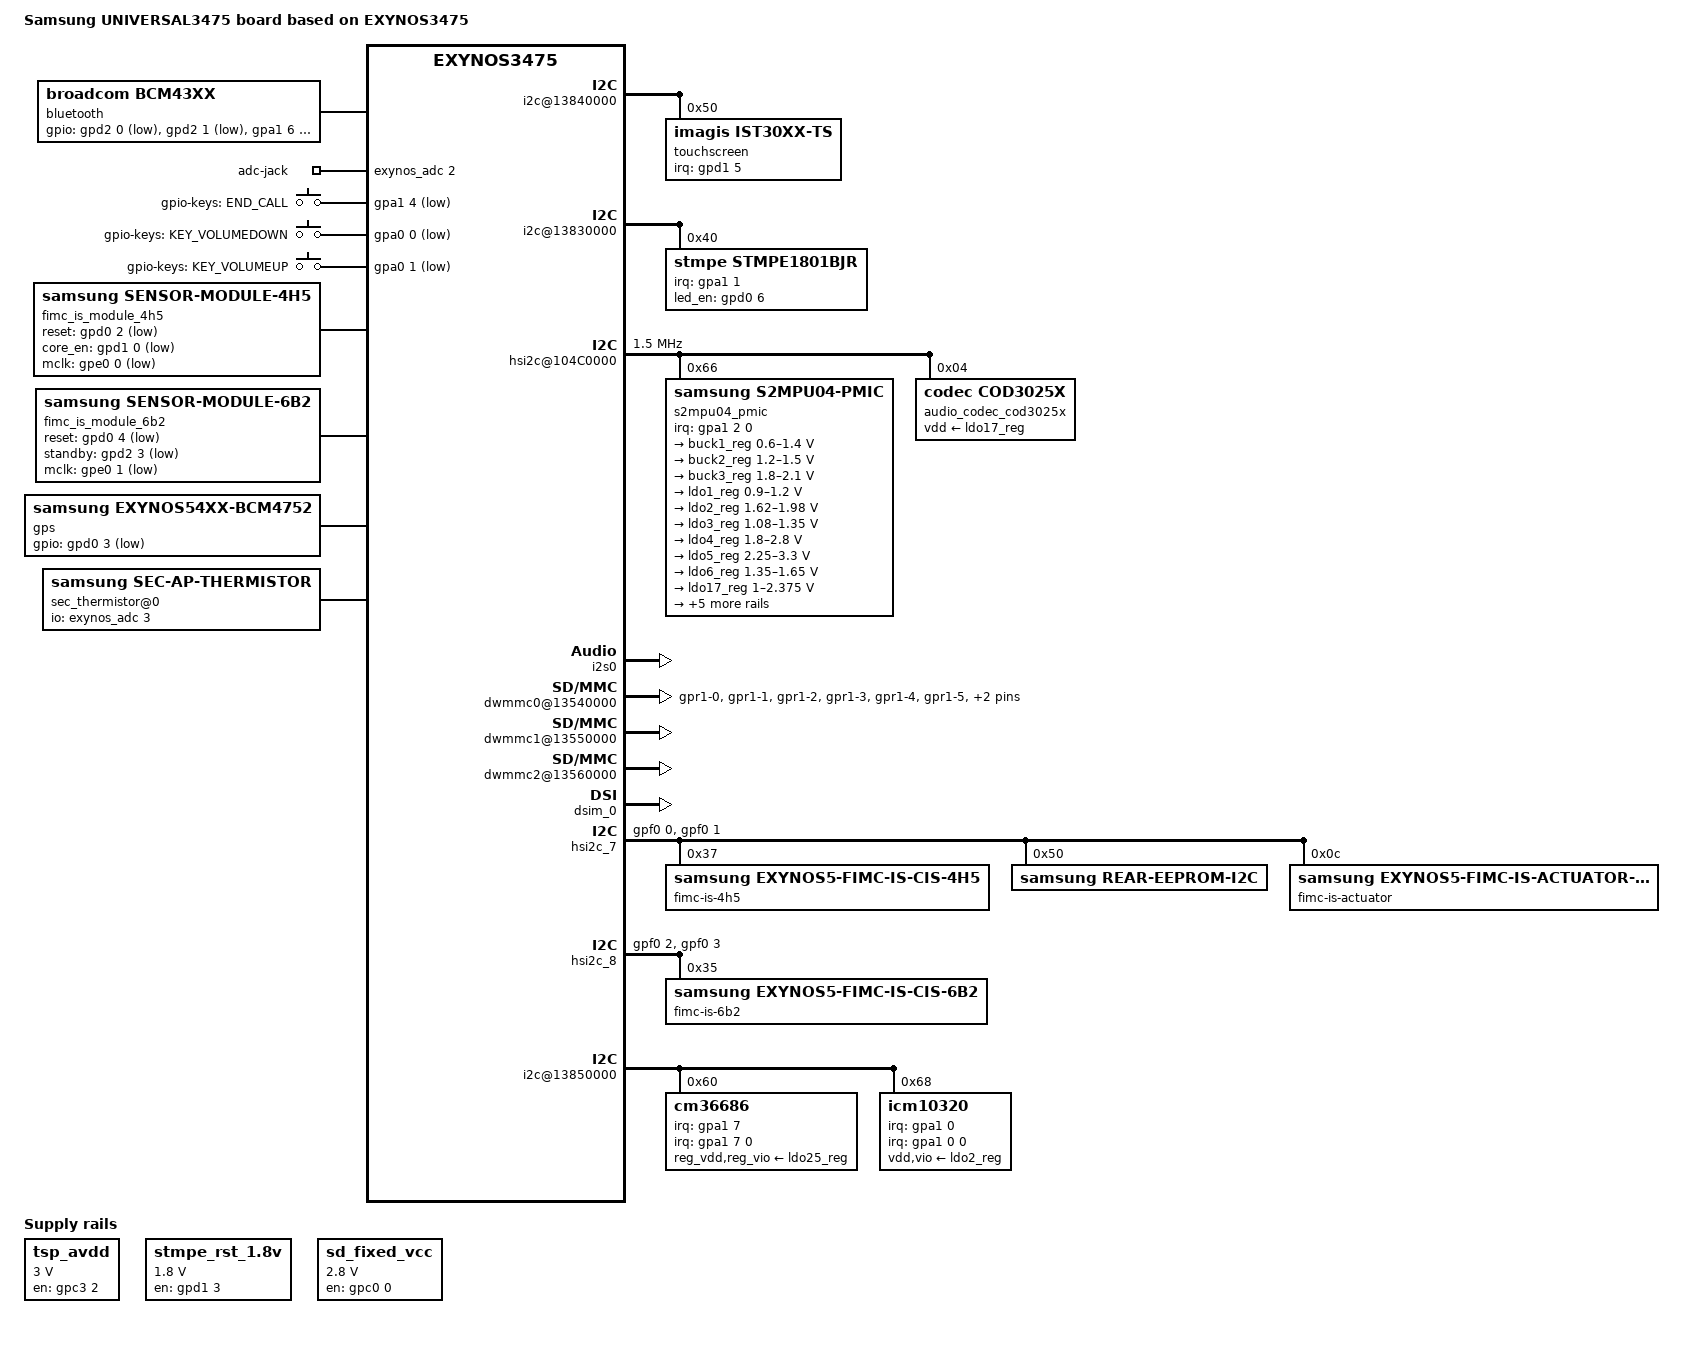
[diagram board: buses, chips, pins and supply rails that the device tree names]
/*
 * SAMSUNG EXYNOS3475 board device tree source
 *
 * Copyright (c) 2013 Samsung Electronics Co., Ltd.
 *		http://www.samsung.com
 *
 * This program is free software; you can redistribute it and/or modify
 * it under the terms of the GNU General Public License version 2 as
 * published by the Free Software Foundation.
*/

#include "exynos3475.dtsi"

/ {
	model = "Samsung UNIVERSAL3475 board based on EXYNOS3475";
	compatible = "samsung,UNIVERSAL3475", "samsung,exynos3475";

	reserved-memory {
		#address-cells = <1>;
		#size-cells = <1>;
		ranges;

		mfc_nfw {
			compatible = "exynos5433-ion,mfc_nfw";
			size = <0x100000>;
			alignment = <0x100000>;
			id = <12>;
		};
	};

	chosen {
		bootargs = "console=ttySAC2,115200 vmalloc=256M ess_setup=0x26000000";
		linux,initrd-start = <0x22000000>;
		linux,initrd-end = <0x221FFFFF>;
	};

	fixed-rate-clocks {
		oscclk {
			compatible = "samsung,exynos3475-oscclk";
			clock-frequency = <26000000>;
		};
	};

	pinctrl@139C0000 {
		attn_irq: attn-irq {
			samsung,pins = "gpd1-5";
			samsung,pin-function = <0xf>;
			samsung,pin-pud = <0>;
			samsung,pin-drv = <0>;
		};

		attn_input: attn-input {
			samsung,pins = "gpd1-5";
			samsung,pin-function = <0>;
			samsung,pin-pud = <1>;
			samsung,pin-drv = <0>;
		};
	};

	pinctrl@138D0000 {
		i2c_pdn_off: i2c-pdn_off {
			samsung,pins = "gpc3-1", "gpc3-0";
			samsung,pin-con-pdn = <2>;
			samsung,pin-pud-pdn = <1>;
		};
	};

	tsp_ldo_en {
		compatible = "regulator-fixed";
		regulator-name = "tsp_avdd";
		regulator-min-microvolt = <3000000>;
		regulator-max-microvolt = <3000000>;
		gpio = <&gpc3 2 0>;
		enable-active-high;
	 };

	i2c@13840000 {
		samsung,i2c-sda-delay = <100>;
		samsung,i2c-max-bus-freq = <400000>;
		status = "okay";
		touchscreen@50 {
			compatible = "imagis,ist30xx-ts";
			reg = <0x50>;
			pinctrl-names = "on_state", "off_state";
			pinctrl-0 = <&attn_irq>;
			pinctrl-1 = <&attn_input &i2c_pdn_off>;
			imagis,irq-gpio = <&gpd1 5 0>;
			imagis,regulator_avdd = "tsp_avdd";
		};
	};

	stmpe_reset {
		compatible = "regulator-fixed";
		regulator-name = "stmpe_rst_1.8v";
		regulator-min-microvolt = <1800000>;
		regulator-max-microvolt = <1800000>;
		gpio = <&gpd1 3 0>;
		enable-active-high;
		regulator-boot-on;
	};

	i2c@13830000 {
		status = "okay";
		stmpe@40 {
			compatible = "stmpe,stmpe1801bjr";
			reg = <0x40>;
			pinctrl-names = "default";
			pinctrl-0 = <&keypad_irq &keypad_led>;
			stmpe,irq_gpio = <&gpa1 1 0>;
			stmpe,led_en-gpio = <&gpd0 6 0>;
			stmpe,block_type = <2>;		// STMPE1801_BLOCK_GPIO : 1 / STMPE1801_BLOCK_KEY : 2
			stmpe,debounce = <6>;		// 30us : 0 / 90us : 2 / 150us : 4 / 210us : 6
			stmpe,freq = <3>;			// 60hz : 0 / 30hz : 1 / 15hz : 2 / 275hz : 3
			stmpe,scan_cnt = <2>;
			stmpe,repeat = <0>;

			keypad,num-rows = <5>;
			keypad,num-columns = <6>;	//  row   colume   keycode
			linux,keymap = <0x000000fe	//   0       0     KEY_RECENT(254)
						0x000100ac	//   0       1     KEY_HOME(172)
						0x0002009e	//   0       2     KEY_BACK(158)
						0x000300e7	//   0       3     KEY_SEND(231)
						0x0004000e	//   0       4     DEL(14)
						0x00050000	//   0       5     KEY_RESERVED(0)
						0x010001ad	//   1       0     KEY_CONTACTS(0x1ad)
						0x01010067	//   1       1     KEY_UP(103)
						0x010200d4	//   1       2     KEY_CAMERA(212)
						0x01030002	//   1       3     KEY_1(2)
						0x01040003	//   1       4     KEY_2(3)
						0x01050004	//   1       5     KEY_3(4)
						0x02000069	//   2       0     KEY_LEFT(105)
						0x02010161	//   2       1     DPAD_CENTER(353)
						0x0202006a	//   2       2     KEY_RIGHT(106)
						0x02030005	//   2       3     KEY_4(5)
						0x02040006	//   2       4     KEY_5(6)
						0x02050007	//   2       5     KEY_6(7)
						0x03000000	//   3       0     KEY_RESERVED(0)
						0x03010000	//   3       1     KEY_RESERVED(0)
						0x03020000	//   3       2     KEY_RESERVED(0)
						0x03030008	//   3       3     KEY_7(8)
						0x03040009	//   3       4     KEY_8(9)
						0x0305000a	//   3       5     KEY_9(10)
						0x040001ae	//   4       0     KEY_MESSENGER(0x1ae)
						0x0401006c	//   4       1     KEY_DOWN(108)
						0x04020244	//   4       2     R_SOFT -> KEY_APPSELECT(0x244)
						0x0403020a	//   4       3     KEY_NUMERIC_STAR(0x20a)
						0x0404000b	//   4       4     KEY_0(11)
						0x0405020b>;	//   4       5     KEY_NUMERIC_POUND(0x20b)
		};
	};

	pinctrl@139B0000 {
		keypad_irq: keypad-irq {
			samsung,pins = "gpa1-1";
			samsung,pin-pud = <3>;
			samsung,pin-drv = <3>;
		};
		pmic_irq: pmic-irq {
			samsung,pins = "gpa1-2";
			samsung,pin-pud = <3>;
			samsung,pin-drv = <3>;
		};

		if_irq: if-irq {
			samsung,pins = "gpa0-2";
			samsung,pin-pud = <3>;
			samsung,pin-drv = <3>;
		};

		hall_irq: hall-irq {
			samsung,pins = "gpa0-5";
			samsung,pin-function = <0xf>;
			samsung,pin-pud = <0>;
			samsung,pin-drv = <0>;
		};

		cod3025_irq: cod3025-irq {
			samsung,pins = "gpa0-6";
			samsung,pin-pud = <3>;
			samsung,pin-drv = <3>;
		};
		earjack_jack_det: jack-det {
			samsung,pins = "gpa0-7";
			samsung,pin-function = <0xf>;
			samsung,pin-pud = <0>;
			samsung,pin-drv = <0>;
		};
		earjack_key_det: key-det {
			samsung,pins = "gpa1-3";
			samsung,pin-function = <0xf>;
			samsung,pin-pud = <0>;
			samsung,pin-drv = <0>;
		};
	};

	pinctrl@139C0000 {
		/* Warm reset information from AP */
		pm_wrsti: pm-wrsti {
			samsung,pins = "gpd0-1";
			samsung,pin-con-pdn = <3>;
		};
		keypad_led: keypad-led {
			samsung,pins = "gpd0-6";
			samsung,pin-function = <0x1>;
			samsung,pin-pud = <0>;
			samsung,pin-drv = <0>;
		};
	};

	hsi2c@104C0000 {
        status = "okay";
		samsung,hs-mode;
		clock-frequency = <1500000>;
		samsung,hsi2c-batcher;
		#address-cells = <1>;
		#size-cells = <0>;
		s2mpu04_pmic@66 {
			compatible = "samsung,s2mpu04-pmic";
			reg = <0x66>;
			ten-bit-address;
			interrupts = <2 0 0>;
			interrupt-parent = <&gpa1>;
			pinctrl-names = "default";
			pinctrl-0 = <&pmic_irq &pm_wrsti>;
			/* RTC: wtsr/smpl */
			wtsr_en = <1>; /* enable */
			smpl_en = <1>; /* enable */
			wtsr_timer_val = <3>;   /* 1000ms */
			smpl_timer_val = <4>;   /* 500ms */
			check_jigon = <0>; /* do not check jigon */
			/* RTC: If it's first boot, reset rtc to 1/1/2015 12:00:00(Wed) */
			init_time,sec = <0>;
			init_time,min = <0>;
			init_time,hour = <12>;
			init_time,mday = <1>;
			init_time,mon = <0>;
			init_time,year = <115>;
			init_time,wday = <4>;

			regulators {
				buck1_reg: BUCK1 {
					regulator-name = "vdd_core";
					regulator-min-microvolt = <600000>;
					regulator-max-microvolt = <1400000>;
					regulator-always-on;
					regulator-boot-on;
					regulator-ramp-delay = <12000>;
					regulator-initial-mode = <3>;
					regulator-expected-consumer = <4>;
				};

				buck2_reg: BUCK2 {
					regulator-name = "vdd_lldo";
					regulator-min-microvolt = <1200000>;
					regulator-max-microvolt = <1500000>;
					regulator-always-on;
					regulator-boot-on;
					regulator-ramp-delay = <12000>;
					regulator-initial-mode = <3>;
				};

				buck3_reg: BUCK3 {
					regulator-name = "vdd_mldo";
					regulator-min-microvolt = <1800000>;
					regulator-max-microvolt = <2100000>;
					regulator-always-on;
					regulator-boot-on;
					regulator-ramp-delay = <12000>;
					regulator-initial-mode = <3>;
				};

				ldo1_reg: LDO1 {
					regulator-name = "vdd_ldo1";
					regulator-min-microvolt = <900000>;
					regulator-max-microvolt = <1200000>;
					regulator-always-on;
					regulator-boot-on;
					regulator-initial-mode = <3>;
				};
				ldo2_reg: LDO2 {
					regulator-name = "vdd_ldo2";
					regulator-min-microvolt = <1620000>;
					regulator-max-microvolt = <1980000>;
					regulator-always-on;
					regulator-boot-on;
					regulator-initial-mode = <3>;
				};

				ldo3_reg: LDO3 {
					regulator-name = "vdd_ldo3";
					regulator-min-microvolt = <1080000>;
					regulator-max-microvolt = <1350000>;
					regulator-boot-on;
					regulator-always-on;
					regulator-initial-mode = <3>;
				};

				ldo4_reg: LDO4 {
					regulator-name = "vqmmc";
					regulator-min-microvolt = <1800000>;
					regulator-max-microvolt = <2800000>;
					regulator-boot-on;
					regulator-ramp-delay = <12000>;
					regulator-initial-mode = <1>;
				};

				ldo5_reg: LDO5 {
					regulator-name = "vdd_ldo5";
					regulator-min-microvolt = <2250000>;
					regulator-max-microvolt = <3300000>;
					regulator-boot-on;
					regulator-always-on;
					regulator-initial-mode = <3>;
				};

				ldo6_reg: LDO6 {
					regulator-name = "vdd_ldo6";
					regulator-min-microvolt = <1350000>;
					regulator-max-microvolt = <1650000>;
					regulator-initial-mode = <1>;
				};

				ldo17_reg: LDO17 {
					regulator-name = "vdd_ldo17";
					regulator-min-microvolt = <1000000>;
					regulator-max-microvolt = <2375000>;
					regulator-initial-mode = <1>;
				};

				ldo21_reg: LDO21 {
					regulator-name = "VDDIO_1.8V_CAM";
					regulator-min-microvolt = <1800000>;
					regulator-max-microvolt = <1800000>;
				};

				ldo22_reg: LDO22 {
					regulator-name = "VDDAF_2.8V_CAM";
					regulator-min-microvolt = <2800000>;
					regulator-max-microvolt = <2800000>;
				};

				ldo23_reg: LDO23 {
					regulator-name = "vdd_ldo23";
					regulator-min-microvolt = <1000000>;
					regulator-max-microvolt = <2375000>;
					regulator-always-on;
					regulator-boot-on;
					regulator-initial-mode = <1>;
				};

				ldo24_reg: LDO24 {
					regulator-name = "codec_ldo24";
					regulator-min-microvolt = <1000000>;
					regulator-max-microvolt = <2375000>;
					regulator-boot-on;
					regulator-always-on;
					regulator-initial-mode = <1>;
				};

				ldo25_reg: LDO25 {
					regulator-name = "vdd_ldo25";
					regulator-min-microvolt = <3000000>;
					regulator-max-microvolt = <3000000>;
					regulator-initial-mode = <1>;
				};
			};
		};

		audio_codec_cod3025x: cod3025x@04 {
			compatible = "codec,cod3025x";
			reg = <0x04>;
			ten-bit-address;
			vdd-supply = <&ldo17_reg>;
			pinctrl-names = "default";
			pinctrl-0 = <&cod3025_irq>;
			interrupt-parent = <&gpa0>;
			mic-bias1-voltage = <1>;
			mic-bias2-voltage = <3>;
			mic-bias-ldo-voltage = <3>;
		};
	};

	s2803x: s2803x@148C0000 {
		pinctrl-names = "default", "idle";
		pinctrl-0 = <&i2s_pmic_bus &i2s_bt_bus>;
		pinctrl-1 = <&i2s_pmic_bus_idle &i2s_bt_bus_idle>;
		bck-mcko-mode;
		status = "okay";
	};

	det_zones: det_zones {
		#list-det-cells = <4>;
	};

	but_zones: but_zones {
		#list-but-cells = <3>;
	};

	earjack {
		compatible = "sec_jack";
		detect-gpio = <&gpa0 7 0>;
	/*	ear-micbias-en-gpio = <&msmgpio 85 0>; */
		key-gpio = <&gpa1 3 0>;
	/*	ext-detchip-en-gpio = <310>; */
	/*	key-dbtime = <100>; */
		det-dbtime = <50>;
	/*	send-end-active-high; */
		det-zones-list = <&det_zones 3 10000 10 0>,
			<&det_zones 1860 10000 10 2>,
			<&det_zones 4095 10000 10 1>,
			<&det_zones 9999 10000 10 1>;
		but-zones-list = <&but_zones 226 0 445>,
			<&but_zones 582 446 548>,
			<&but_zones 115 549 668>,
			<&but_zones 114 719 4095>;
		pinctrl-names = "default";
		pinctrl-0 = <&earjack_jack_det &earjack_key_det>;
		status = "disabled";
	};

	i2s0: i2s@148E0000 {
		status = "okay";
	};

	audio_cp_dummy: cp_dummy {
		compatible = "samsung,cp_dummy";
		status = "okay";
	};

	audio_bt_dummy: bt_dummy {
		compatible = "samsung,bt_dummy";
		status = "okay";
	};

	audio_fm_dummy: fm_dummy {
		compatible = "samsung,fm_dummy";
		status = "okay";
	};

	audio_codec_dummy: dummy-codec {
		compatible = "samsung,dummy-codec";
		status = "okay";
	};

	bluetooth {
		compatible = "broadcom,bcm43xx";
		gpios = <&gpd2 0 1	/*BT_EN*/
				&gpd2 1 1	/*BT_WAKE*/
				&gpa1 6 0xF	/*BT_HOST_WAKE*/ >;
		pinctrl-names = "default";
		pinctrl-0=<&bt_hostwake &bt_btwake &bt_reg_on>;
		status = "okay";
	};

	sound {
		compatible = "samsung,universal3475-cod3025x";
		samsung,audio-cpu = <&i2s0	/* primary */
					&i2s0	/* secondary */
					&audio_cp_dummy
					&audio_bt_dummy
					&audio_fm_dummy>;
		samsung,audio-codec = <&audio_codec_cod3025x
					&audio_codec_cod3025x
					&audio_codec_cod3025x
					&audio_codec_dummy
					&audio_codec_cod3025x>;
		samsung,auxdev = <&s2803x>;
		samsung,use-externel-jd;
		io-channels = <&exynos_adc 2>;
		io-channel-names = "adc-jack";
		#io-channel-cells = <1>;
		io-channel-ranges;
		status = "okay";
	};

	ion {
		compatible = "samsung,exynos5430-ion";

		contig-names = "common",
			       "mfc_sh",
			       "g2d_wfd",
			       "video",
			       "sectbl",
			       "mfc_fw",
			       "mfc_nfw",
			       "secdma";

		contig = <0 0x600000 0x0>,
		         <2 0x100000 0x0>,
		         <10 0x800000 0x0>,
		         <11 0x3000000 0x0>,
		         <9 0x100000 0x0>,
		         <8 0x100000 0x0>,
		         <12 0x100000 0x0>,
		         <13 0x20000 0x0>;

		contig-isolate_on_boot = <0>, <2>, <8>,
					  <9>, <10>, <11>, <12>, <13>;

		ion_noncontig_heap {
			id-type = <0 0>;
		};

		exynos_contig_heap {
			id-type = <4 6>;
		};
	};

	pinctrl@139B0000 {
		gpa0_pull_up: gpa0_pull_up {
			samsung,pins = "gpa0-0", "gpa0-1", "gpa1-4";
			samsung,pin-function = <0xf>;
			samsung,pin-pud = <3>;
			samsung,pin-drv = <0>;
		};
	};

	gpio_keys {
		compatible = "gpio-keys";
		#address-cells = <1>;
		#size-cells = <0>;
		pinctrl-names = "default";
		pinctrl-0 = <&gpa0_pull_up>;
		button@1 {
			label = "gpio-keys: END_CALL";
			interrupts = <4 0 0>;
			interrupt-parent = <&gpa1>;
			linux,code = <551>;
			gpios = <&gpa1 4 0xf>;
			gpio-key,wakeup = <1>;
		};
		button@2 {
			label = "gpio-keys: KEY_VOLUMEDOWN";
			interrupts = <0 0 0>;
			interrupt-parent = <&gpa0>;
			linux,code = <114>;
			gpios = <&gpa0 0 0xf>;
		};
		button@3 {
			label = "gpio-keys: KEY_VOLUMEUP";
			interrupts = <1 0 0>;
			interrupt-parent = <&gpa0>;
			linux,code = <115>;
			gpios = <&gpa0 1 0xf>;
		};
	};

	dwmmc0@13540000 {
		status = "okay";
		num-slots = <1>;
		broken-cd;
		use-smu;
		fixed_volt;
		only_once_tune;
		clock-gate;
		enable-cclk-on-suspend;
		supports-highspeed;
		supports-hs200-mode;
		supports-ddr200-mode;
		supports-ddr200-enhanced-strobe;
		enable-ulp-mode;
		ulp-mux-sel-hs400;
		enable-cache-control;
		enable-no-sleep-cmd;
		supports-poweroff-notification;
		use-fine-tuning;
		extra_tuning;
		bypass-for-allpass;
		use-enable-shift;
		desc-size = <4>;
		fifo-depth = <0x40>;
		qos_int_level = <138000>;
		card-detect-delay = <200>;
		data-timeout = <200>;

		/* TXDT_CRC_TIMER_FASTLIMIT[23:16] */
		samsung,dw-mshc-txdt-crc-timer-fastlimit = <0x12>;
		/* TXDT_CRC_TIMER_INITVAL[15:8] */
		samsung,dw-mshc-txdt-crc-timer-initval = <0x14>;
		/* RCLK_DELAY_CTRL[9:0] */
		samsung,dw-mshc-ddr200-delay-line = <0x50>;

		/* For ULP data PATH */
		/* TXDT_CRC_TIMER_FASTLIMIT[23:16] */
		samsung,dw-mshc-ulp-txdt-crc-timer-fastlimit = <0x34>;
		/* TXDT_CRC_TIMER_INITVAL[15:8] */
		samsung,dw-mshc-ulp-txdt-crc-timer-initval = <0x38>;
		/* RCLK_DELAY_CTRL[9:0] */
		samsung,dw-mshc-ulp-ddr200-delay-line = <0x50>;

		samsung,dw-mshc-ciu-div = <3>;
		/* DICRATIO, drv_fine, drv, sample */
		samsung,dw-mshc-sdr-timing = <3 0 2 0>;
		samsung,dw-mshc-sdr-hs-timing = <3 0 2 1>;
		samsung,dw-mshc-ddr-timing = <3 0 4 2>;
		samsung,dw-mshc-hs200-timing = <3 0 3 0>;
		samsung,dw-mshc-ddr200-timing = <1 0 4 0>;
		samsung,dw-mshc-ddr200-ulp-timing = <3 0 4 0>;
		clk_pin = "gpr0-0";
		clk_addr = "13750000.pinctrl";
		clk_val = <0x2>;
		clk_str_num = <4>;
		num-ref-clks = <10>;
		ciu_clkin = <22 42 42 84 167 84 167 334 334 167>;

		pinctrl-names = "default";
		pinctrl-0 = <&sd0_clk &sd0_cmd &sd0_rdqs &sd0_bus1 &sd0_bus4 &sd0_bus8>;
		slot@0 {
			reg = <0>;
			bus-width = <8>;
		};
	};

	dwmmc1@13550000 {
		status = "okay";
		num-slots = <1>;
		cd-type-external;
		pm-ignore-notify;
		keep-power-in-suspend;
		fixed_volt;
		clock-gate;
		enable-cclk-on-suspend;
		caps-control;
		supports-highspeed;
		use-fine-tuning;
		bypass-for-allpass;
		fifo-depth = <0x40>;
		card-detect-delay = <200>;
		qos_int_level = <138000>;
		samsung,dw-mshc-ciu-div = <3>;
		samsung,dw-mshc-sdr-timing = <3 0 2 1>;
		samsung,dw-mshc-ddr-timing = <3 0 3 2>;
		clk_pin = "gpr2-0";
		clk_addr = "13750000.pinctrl";
		clk_val = <0x2>;
		clk_str_num = <4>;
		num-ref-clks = <8>;
		ciu_clkin = <22 42 42 84 167 84 167 334>; /* clk 666Mhz */
		pinctrl-names = "default";
		pinctrl-0 = <&sd1_clk &sd1_cmd &sd1_bus1 &sd1_bus4 &cfg_wlanen>;

		slot@0 {
			reg = <0>;
			bus-width = <4>;
		};
	};

	dwmmc2@13560000 {
		status = "okay";
		num-slots = <1>;
		cd-type-gpio;
		bypass-smu;
		clock-gate;
		enable-cclk-on-suspend;
		caps-control;
		supports-highspeed;
		supports-sdr104-mode;
		fix-fmp-size-mismatch;
		not-allow-single-dma;
		use-fine-tuning;
		sd_vcc = <&sd_fixed_vcc>;
		desc-size = <4>;
		bypass-for-allpass;
		fifo-depth = <0x40>;
		card-detect-delay = <200>;
		data-timeout = <200>;
		qos_int_level = <138000>;
		samsung,dw-mshc-ciu-div = <3>;
		samsung,dw-mshc-sdr-timing = <3 0 2 0>;
		samsung,dw-mshc-ddr-timing = <3 0 3 2>;
		clk_pin = "gpr4-0";
		clk_addr = "13750000.pinctrl";
		clk_val = <0x2>;
		clk_str_num = <4>;
		num-ref-clks = <8>;
		ciu_clkin = <22 42 42 84 167 84 167 334>; /* clk 666Mhz */
		pinctrl-names = "default", "output";
		pinctrl-0 = <&sd2_clk &sd2_cmd &sd2_bus1 &sd2_bus4>;
		pinctrl-1 = <&sd2_clk_output &sd2_cmd_output &sd2_bus1 &sd2_bus4>;

		sec-sd-slot-type = <0>; /* no detect pin */

		slot@0 {
			reg = <0>;
			bus-width = <4>;
			disable-wp;
		};
	};

	pinctrl@13750000 {
		sd0_bus1: sd0-bus-width1 {
			samsung,pins = "gpr1-0";
			samsung,pin-function = <2>;
			samsung,pin-pud = <3>;
			samsung,pin-drv = <1>;
		};

		sd0_bus4: sd0-bus-width4 {
			samsung,pins = "gpr1-1", "gpr1-2", "gpr1-3";
			samsung,pin-function = <2>;
			samsung,pin-pud = <3>;
			samsung,pin-drv = <1>;
		};

		sd0_bus8: sd0-bus-width8 {
			samsung,pins = "gpr1-4", "gpr1-5", "gpr1-6", "gpr1-7";
			samsung,pin-function = <2>;
			samsung,pin-pud = <3>;
			samsung,pin-drv = <1>;
		};
	};

	sd_fixed_vcc: fixedregulator@0 {
		compatible = "regulator-fixed";
		regulator-name = "vmmc";
		gpio = <&gpc0 0 1>;
		regulator-min-microvolt = <2800000>;
		regulator-max-microvolt = <2800000>;
		enable-active-high;
	};

	pinctrl@139B0000 {
		dwmmc1_cd_ext_irq: dwmmc1_cd_ext_irq {
			   samsung,pins = "gpa1-5";
			   samsung,pin-function = <0xf>;
			   samsung,pin-pud = <0>;
			   samsung,pin-drv = <0>;
		};
	};

	decon_fb@14830000 {
		/* addr, display frame(l,t,r,b), format */
		/* bootloader_fb = <0x90000000 0 900 1080 1020 0>; */
		/* XEINT7, GPIO & pin control */
		/* gpios = <&gpa0 7 0xf>; */
		/* disp-pll-clk = <284000000>; */
		status = "okay";
		bootloader_fb = <0x57E05000 0 0 480 800 0>;
	};

	dsim_0: dsim@14800000 {
		lcd_info = <&sc7798d>;
		decon_board = <&decon_board_list>;
		/* lcd reset, power */
		/* gpios = <&gpd2 2 0x1>, <&gpd0 5 0x1>; */
		status = "okay";

		/* number of data lanes in use */
		data_lane_cnt = <2>;
	};

	decon_board_list: decon_board_list {
		dsim_set_panel_power_enable {
			type = "gpio,high", "delay,usleep";
			gpios = <&gpd0 5 0x1>;
			delay = <10000 11000>;
		};
		dsim_set_panel_power_disable {
			type = "gpio,low", "delay,usleep", "gpio,low", "delay,usleep";
			gpios = <&gpd2 2 0x1>, <&gpd0 5 0x1>;
			delay = <10000 11000>, <10000 11000>;
		};
		dsim_reset_panel {
			type = "gpio,high", "delay,usleep", "gpio,low", "delay,usleep", "gpio,high", "delay,usleep", "delay,usleep";
			gpios = <&gpd2 2 0x1>, <&gpd2 2 0x1>, <&gpd2 2 0x1>;
			delay = <5000 6000>, <5000 6000>, <10000 11000>, <40000 41000>;
		};
	};

	sc7798d: sc7798d_wvga {
		panel_name = "sc7798d";
		resolution = <480 800>;
		size = <71 114>;
		timing,refresh = <60>;
		/* HBP:70, HFP:90, HSW:60 */
		timing,h-porch = <70 90 60>;
		/* VBP:12, VFP:8, VSW:4 */
		timing,v-porch = <12 8 4>;
		timing,dsi-hs-clk = <432>;	/* FIX ME */
		timing,dsi-escape-clk = <8>;	/* FIX ME */
	};

	usb_notifier {
		compatible = "samsung,usb-notifier";
		udc = <&udc>;
	};

	fimc_is_module_4h5: fimc-is_sensor_4h5@0 {
		compatible = "samsung,sensor-module-4h5";

		pinctrl-names = "pin0", "pin1";
		pinctrl-0 = <&fimc_is_mclk0_fn>; /* rear on */
		pinctrl-1 = <&fimc_is_mclk0_in>; /* rear off */

		position = <0>; /* Rear:0. Front:1 */
		id = <0>; /* sensor id */
		mclk_ch = <0>;
		sensor_i2c_ch = <0>; /* I2C 0 */
		sensor_i2c_addr = <0x37>; /* need the i2c_addr modify */

		gpio_reset = <&gpd0 2 0x1>; /* sensor reset */
		gpio_core_en = <&gpd1 0 0x1>; /* CAM_CORE_EN */
		gpio_mclk = <&gpe0 0 0x1>; /* MAIN_CAM_MCLK */
		status = "okay";

		af {
			product_name = <2>; /* 2: ACTUATOR_NAME_DWXXXX (DW9804) */
			i2c_addr = <0x0C>;
			i2c_ch = <0>; /* I2C 0 */
		};
	};

	fimc_is_module_6b2: fimc-is_sensor_6b2@0 {
		compatible = "samsung,sensor-module-6b2";

		pinctrl-names = "pin0", "pin1";
		pinctrl-0 = <&fimc_is_mclk1_fn>; /* front on */
		pinctrl-1 = <&fimc_is_mclk1_in>; /* front off */

		position = <1>; /* Rear:0. Front:1 */
		id = <1>; /* sensor id */
		mclk_ch = <1>;
		sensor_i2c_ch = <1>;
		sensor_i2c_addr = <0x35>; /* need the i2c_addr modify */

		gpio_reset = <&gpd0 4 0x1>;
		gpio_standby = <&gpd2 3 0x1>; /* VT_CAM_STBY */
		gpio_mclk = <&gpe0 1 0x1>; /* VT_CAM_MCLK */
		status = "okay";
	};

	hsi2c_7: hsi2c@138A0000 {
		gpios = <&gpf0 0 0 &gpf0 1 0>;
		status = "okay";
		samsung,i2c-sda-delay = <100>;
		samsung,i2c-max-bus-freq = <400000>;

		pinctrl-names = "default";
		pinctrl-0 = <&hs_i2c7_bus>;

		fimc-is-4h5@37 {
			compatible = "samsung,exynos5-fimc-is-cis-4h5";
			reg = <0x37>;
			id = <0>; /* matching sensor id */
			setfile = "setB"; /* setfile_B for universal */
		};

		rear-eeprom-i2c@50 {
			compatible = "samsung,rear-eeprom-i2c";
			reg = <0x50>;
		};

		fimc-is-actuator@0C {
			compatible = "samsung,exynos5-fimc-is-actuator-dw9804";
			reg = <0x0C>;
			id = <0>; /* matching sensor id */
		};
	};

	hsi2c_8: hsi2c@138B0000 {
		gpios = <&gpf0 2 0 &gpf0 3 0>;
		status = "okay";
		samsung,i2c-sda-delay = <100>;
		samsung,i2c-max-bus-freq = <400000>;

		pinctrl-names = "default";
		pinctrl-0 = <&hs_i2c8_bus>;

		fimc-is-6b2@35 {
			compatible = "samsung,exynos5-fimc-is-cis-6b2";
			reg = <0x35>;
			id = <1>; /* matching sensor id */
			setfile = "setB";
		};
	};

	fimc_is_sensor0: fimc_is_sensor@14410000 {
		scenario = <0>;
		id = <0>;
		mclk_ch = <0>;
		csi_ch = <0>;
		flite_ch = <0>;
		i2c_ch = <0>;
		i2c_addr = <0x2D>; /* need the i2c_addr modify */
		is_bns = <0>;
		status = "okay";
	};

	fimc_is_sensor1: fimc_is_sensor@14411000 {
		scenario = <0>;
		id = <1>;
		mclk_ch = <1>;
		csi_ch = <0>;
		flite_ch = <0>;
		i2c_ch = <0>;
		i2c_addr = <0x2D>; /* need the i2c_addr modify */
		is_bns = <0>;
		status = "okay";
	};

	fimc_is@14400000 {
		rear_sensor_id = <13>;
		front_sensor_id = <7>;
		use_module_check;

		total_camera_num = <2>;
		camera_info0 {				// 0 : rear
			isp = <0>;			/* 0 : INT , 1 : EXT , 2 : SOC */
			cal_memory = <2>;		/* 0 : N , 1 : FROM , 2 : EEPROM , 3 : OTP  */
			read_version = <0>;		/* 0 : SYSFS , 1 : CAMON */
			core_voltage = <0>;		/* 0 : N , 1 : Y  */
			upgrade = <0>;			/* 0 : N , 1 : SYSFS , 2 : CAMON */
			companion = <0>;		/* 0 : N , 1 : Y  */
			ois = <0>;			/* 0 : N , 1 : Y  */
		};
		camera_info1 {				// 1 : front
			isp = <0>;			/* 0 : INT , 1 : EXT , 2 : SOC */
			cal_memory = <0>;		/* 0 : N , 1 : FROM , 2 : EEPROM , 3 : OTP  */
			read_version = <0>;		/* 0 : SYSFS , 1 : CAMON */
			core_voltage = <0>;		/* 0 : N , 1 : Y  */
			upgrade = <0>;			/* 0 : N , 1 : SYSFS , 2 : CAMON */
			companion = <0>;		/* 0 : N , 1 : Y  */
			ois = <0>;			/* 0 : N , 1 : Y  */
		};

		#define DVFS_INT_L0 334000
		#define DVFS_INT_L1 333000
		#define DVFS_INT_L2 275000
		#define DVFS_INT_L3 207000
		#define DVFS_INT_L4 138000
		#define DVFS_INT_L5 104000
		#define DVFS_CAM_L0 0
		#define DVFS_MIF_L0 666000
		#define DVFS_MIF_L1 559000
		#define DVFS_MIF_L2 413000
		#define DVFS_MIF_L3 338000
		#define DVFS_MIF_L4 273000
		#define DVFS_MIF_L5 200000
		fimc_is_dvfs {
			default_int = <DVFS_INT_L0>;
			default_cam = <DVFS_CAM_L0>;
			default_mif = <DVFS_MIF_L0>;
			default_i2c = <0>;
			front_preview_int = <DVFS_INT_L2>;
			front_preview_cam = <DVFS_CAM_L0>;
			front_preview_mif = <DVFS_MIF_L0>;
			front_preview_i2c = <0>;
			front_capture_int = <DVFS_INT_L2>;
			front_capture_cam = <DVFS_CAM_L0>;
			front_capture_mif = <DVFS_MIF_L0>;
			front_capture_i2c = <0>;
			front_video_int = <DVFS_INT_L2>;
			front_video_cam = <DVFS_CAM_L0>;
			front_video_mif = <DVFS_MIF_L0>;
			front_video_i2c = <0>;
			front_video_whd_int = <DVFS_INT_L0>;
			front_video_whd_cam = <DVFS_CAM_L0>;
			front_video_whd_mif = <DVFS_MIF_L0>;
			front_video_whd_i2c = <0>;
			front_video_capture_int = <DVFS_INT_L2>;
			front_video_capture_cam = <DVFS_CAM_L0>;
			front_video_capture_mif = <DVFS_MIF_L0>;
			front_video_capture_i2c = <0>;
			front_video_whd_capture_int = <DVFS_INT_L0>;
			front_video_whd_capture_cam = <DVFS_CAM_L0>;
			front_video_whd_capture_mif = <DVFS_MIF_L0>;
			front_video_whd_capture_i2c = <0>;
			front_vt1_int = <DVFS_INT_L2>;
			front_vt1_cam = <DVFS_CAM_L0>;
			front_vt1_mif = <DVFS_MIF_L0>;
			front_vt1_i2c = <0>;
			front_vt2_int = <DVFS_INT_L2>;
			front_vt2_cam = <DVFS_CAM_L0>;
			front_vt2_mif = <DVFS_MIF_L0>;
			front_vt2_i2c = <0>;
			rear_preview_fhd_int = <DVFS_INT_L0>;
			rear_preview_fhd_cam = <DVFS_CAM_L0>;
			rear_preview_fhd_mif = <DVFS_MIF_L0>;
			rear_preview_fhd_i2c = <0>;
			rear_preview_whd_int = <DVFS_INT_L0>;
			rear_preview_whd_cam = <DVFS_CAM_L0>;
			rear_preview_whd_mif = <DVFS_MIF_L0>;
			rear_preview_whd_i2c = <0>;
			rear_preview_uhd_int = <DVFS_INT_L0>;
			rear_preview_uhd_cam = <DVFS_CAM_L0>;
			rear_preview_uhd_mif = <DVFS_MIF_L0>;
			rear_preview_uhd_i2c = <0>;
			rear_capture_int = <DVFS_INT_L0>;
			rear_capture_cam = <DVFS_CAM_L0>;
			rear_capture_mif = <DVFS_MIF_L0>;
			rear_capture_i2c = <0>;
			rear_video_fhd_int = <DVFS_INT_L0>;
			rear_video_fhd_cam = <DVFS_CAM_L0>;
			rear_video_fhd_mif = <DVFS_MIF_L0>;
			rear_video_fhd_i2c = <0>;
			rear_video_uhd_int = <DVFS_INT_L0>;
			rear_video_uhd_cam = <DVFS_CAM_L0>;
			rear_video_uhd_mif = <DVFS_MIF_L0>;
			rear_video_uhd_i2c = <0>;
			rear_video_fhd_capture_int = <DVFS_INT_L0>;
			rear_video_fhd_capture_cam = <DVFS_CAM_L0>;
			rear_video_fhd_capture_mif = <DVFS_MIF_L0>;
			rear_video_fhd_capture_i2c = <0>;
			rear_video_uhd_capture_int = <DVFS_INT_L0>;
			rear_video_uhd_capture_cam = <DVFS_CAM_L0>;
			rear_video_uhd_capture_mif = <DVFS_MIF_L0>;
			rear_video_uhd_capture_i2c = <0>;
			dual_preview_int = <DVFS_INT_L0>;
			dual_preview_cam = <DVFS_CAM_L0>;
			dual_preview_mif = <DVFS_MIF_L0>;
			dual_preview_i2c = <0>;
			dual_capture_int = <DVFS_INT_L0>;
			dual_capture_cam = <DVFS_CAM_L0>;
			dual_capture_mif = <DVFS_MIF_L0>;
			dual_capture_i2c = <0>;
			dual_video_int = <DVFS_INT_L0>;
			dual_video_cam = <DVFS_CAM_L0>;
			dual_video_mif = <DVFS_MIF_L0>;
			dual_video_i2c = <0>;
			dual_video_capture_int = <DVFS_INT_L0>;
			dual_video_capture_cam = <DVFS_CAM_L0>;
			dual_video_capture_mif = <DVFS_MIF_L0>;
			dual_video_capture_i2c = <0>;
			preview_high_speed_fps_int = <DVFS_INT_L0>;
			preview_high_speed_fps_cam = <DVFS_CAM_L0>;
			preview_high_speed_fps_mif = <DVFS_MIF_L0>;
			preview_high_speed_fps_i2c = <0>;
			video_high_speed_fps_int = <DVFS_INT_L0>;
			video_high_speed_fps_cam = <DVFS_CAM_L0>;
			video_high_speed_fps_mif = <DVFS_MIF_L0>;
			video_high_speed_fps_i2c = <0>;
			max_int = <DVFS_INT_L0>;
			max_cam = <DVFS_CAM_L0>;
			max_mif = <DVFS_MIF_L0>;
			max_i2c = <0>;
		};
	};

	/* modem_interface */
	mif_pdata {
		pinctrl-names = "default";
		pinctrl-0 = <&ds_det>;

		/* To do: will be remove, for system revision */
		gpios = <&gpc2 2 0x0>,
		       <&gpc2 3 0x0>,
		       <&gpd1 7 0x0>;

		mif,gpio_ds_det = <&gpc0 2 0x0>;

		mif,ap_clk_table = <
			/* khz */
			1300000
			1196000
			1105000
			1001000
			897000
			806000
			702000
			598000
			507000
			403000
			>;

		mif,mif_clk_table = <
			/* khz */
			666000
			559000
			413000
			338000
			273000
			200000
			>;
	};

	pinctrl@139C0000 {
		ds_det: ds_det {
			samsung,pins = "gpc0-2";
			samsung,pin-function = <0>;	/* INPUT */
			samsung,pin-pud = <0>;
			samsung,pin-con-pdn = <3>;	/* PREV STATE */
			samsung,pin-pud-pdn = <0>;
		};
	};

	hall {
		compatible = "hall";
		pinctrl-names = "default";
		pinctrl-0 = <&hall_irq>;
		hall,gpio_flip_cover = <&gpa0 5 0>;
		status = "okay";
	};

	pinctrl@139B0000 {
		prox_irq: prox_irq {
		samsung,pins = "gpa1-7";
		samsung,pin-function = <0>;
		samsung,pin-pud = <0x3>;
		samsung,pin-drv = <0>;
		};
		acc_int: acc_int {
		samsung,pins = "gpa1-0";
		samsung,pin-function = <0>;
		samsung,pin-pud = <0x0>;
		samsung,pin-drv = <0>;
		};
	};

	pinctrl@139C0000 {
		uart0_rts: uart0-rts {
			samsung,pins = "gpb0-3";
			samsung,pin-function = <2>;
			samsung,pin-pud = <3>;
			samsung,pin-con-pdn = <1>;
			samsung,pin-pud-pdn = <3>;
		};

		uart0_cts: uart0-cts {
			samsung,pins = "gpb0-2";
			samsung,pin-function = <2>;
			samsung,pin-pud = <3>;
			samsung,pin-con-pdn = <2>;
			samsung,pin-pud-pdn = <3>;
		};

		uart0_tx: uart0-tx {
			samsung,pins = "gpb0-1";
			samsung,pin-function = <2>;
			samsung,pin-pud = <3>;
			samsung,pin-con-pdn = <1>;
			samsung,pin-pud-pdn = <3>;
		};

		uart0_rx: uart0-rx {
			samsung,pins = "gpb0-0";
			samsung,pin-function = <2>;
			samsung,pin-pud = <3>;
			samsung,pin-con-pdn = <2>;
			samsung,pin-pud-pdn = <3>;
		};
	};

	serial@13800000 {
		pinctrl-0 = <&uart0_rts &uart0_cts &uart0_tx &uart0_rx>;
	};

	gps {
		compatible = "samsung,exynos54xx-bcm4752";
		gpios = <&gpd0 3 0x1>;   /* GPS_EN */
		status = "okay";
	};


	i2c@13850000 {
		samsung,i2c-sda-delay = <100>;
		samsung,i2c-max-bus-freq = <400000>;
		status = "ok";

		cm36686@60 {
			compatible = "cm36686";
			reg = <0x60>;
			pinctrl-names = "default";
			pinctrl-0 = <&prox_irq>;
			interrupts = <7 0 0>;
			interrupt-parent = <&gpa1>;
			cm36686,irq_gpio =<&gpa1 7 0>;
			cm36686,default_hi_thd = <21>;
			cm36686,default_low_thd = <15>;
			cm36686,cancel_hi_thd = <15>;
			cm36686,cancel_low_thd = <10>;
			cm36686,default_trim = <5>;
			reg_vdd-supply = <&ldo25_reg>;
			reg_vio-supply = <&ldo25_reg>;
			status = "okay";
		};

		icm10320@68 {
			compatible = "icm10320";
			reg = <0x68>;
			pinctrl-names = "default";
			pinctrl-0 = <&acc_int>;
			interrupts = <0 0 0>;
			interrupt-parent = <&gpa1>;
			inv,irq_gpio = <&gpa1 0 0>;
			inv,int_config = <0>;
			inv,level_shifter = <0>;
			inv,orientation = <1 0 1 0 1 1 1 1 0>;
			inv,vdd-supply = <&ldo2_reg>;
			inv,vio-supply = <&ldo2_reg>;
		};
	};

	argos {
		compatible = "samsung,argos";
		#address-cells = <1>;
		/*  The device number should be assigned for each device, e.g. "boot_device@1" and "boot_device@2".
		    Duplicated number is not allowed. Please refer the below example. */

		/* Table Format should be
		 * <Throughput(Mbps) ARM_min ARM_max MIF INT Task IRQ>
		 * ARM_min : ARM Core's minimum frequency lock. 0 means not set,
		 * ARM_max : ARM Core's maximum frequency lock. 0 means not set,
		 * MIF : MIF frequency lock. 0 means not set,
		 * INT : INT frequency lock. 0 means not set,
		 * Task : 1 - Set task affinity lock.
		 *        0 - Not set or unlock,
		 *              Task affinity should be predefined driver's code.
		 * IRQ : 1 - Set irq affinity lock.
		 *       0 - Not set or unlock,
		 *              Task affinity should be predefined driver's code.
		 */
		boot_device@1 {
			net_boost,label="IPC";
			net_boost,node="rmnet0 rmnet1 rmnet2 rmnet3 rmnet4 rmnet5 rmnet6 rmnet7 umts_dm0";
			net_boost,table_size = <4>;
			net_boost,table= <  1 0 0 0 0 0 1
					   20 702000 0 413000 100000 0 1
					   50 897000 0 559000 100000 0 1
					  100 1196000 0 666000 100000 0 1>;
		};

		/* Example
		   boot_device@2 {
		   net_boost,label="EMMC";
		   net_boost,node="";
		   net_boost,sysnode="/sys/class/mmc_host/mmc0/trans_count";
		   net_boost,table_size = <1>;
		   net_boost,table= <64 0 0 1300000 0 825000 400000 0 0>;
		   };
		   boot_device@3 {
		   net_boost,label="WIFI";
		   net_boost,node="wlan0";
		   net_boost,table_size = <3>;
		   net_boost,table= <60 1000000 0 800000 0 0 200000 0 0
		   100 1200000 0 1000000 0 0 200000 0 0
		   180 1700000 0 1100000 0 543000 267000 0 0>;
		   };
		   boot_device@4 {
		   net_boost,label="P2P";
		   net_boost,node="p2p-wlan0-0";
		   net_boost,table_size = <3>;
		   net_boost,table= <30 1000000 0 800000 0 0 200000 0 0
		   50 1200000 0 1000000 0 0 200000 0 0
		   90 1700000 0 1100000 0 543000 267000 0 0>;
		   };
		   boot_device@5 {
		   net_boost,label="CLAT";
		   net_boost,node="clat clat4";
		   net_boost,table_size = <3>;
		   net_boost,table= <120 1400000 0 0 0 825000 0 0 0
		   130 1500000 0 0 0 825000 0 0 0
		   150 1600000 0 0 0 825000 0 0 0>;
		   };
		 */
	};

	sec_thermistor@0 {
		compatible = "samsung,sec-ap-thermistor";
		status = "okay";

		adc_array = <258 268 279 289 300 310 320 331 341 352
				362 374 387 399 412 424 438 453 467 482
				496 516 536 555 575 595 616 636 657 677
				698 722 747 771 796 820 847 875 902 930
				957 992 1027 1061 1096 1131 1167 1202 1238 1273
				1309 1347 1385 1423 1461 1499 1541 1583 1624 1666
				1708 1753 1798 1844 1889 1934 1981 2029 2076 2124
				2171 2218 2265 2313 2360 2407 2454 2501 2549 2596
				2643 2687 2731 2776 2820 2864 2911 2958 3004 3051
				3098 3134 3171 3207 3244 3280 3312 3344 3376 3408
				3440 3467 3494 3521 3548 3575 3596 3617 3637 3658 3679>;
		temp_array = <900 890 880 870 860 850 840 830 820 810
				800 790 780 770 760 750 740 730 720 710
				700 690 680 670 660 650 640 630 620 610
				600 590 580 570 560 550 540 530 520 510
				500 490 480 470 460 450 440 430 420 410
				400 390 380 370 360 350 340 330 320 310
				300 290 280 270 260 250 240 230 220 210
				200 190 180 170 160 150 140 130 120 110
				100 90 80 70 60 50 40 30 20 10
				0 (-10) (-20) (-30) (-40) (-50) (-60) (-70) (-80) (-90)
				(-100) (-110) (-120) (-130) (-140) (-150) (-160) (-170) (-180) (-190) (-200)>;
		io-channels = <&exynos_adc 3>;
		io-channel-names = "adc-ap-temp";
		io-channel-ranges;
	};
};
